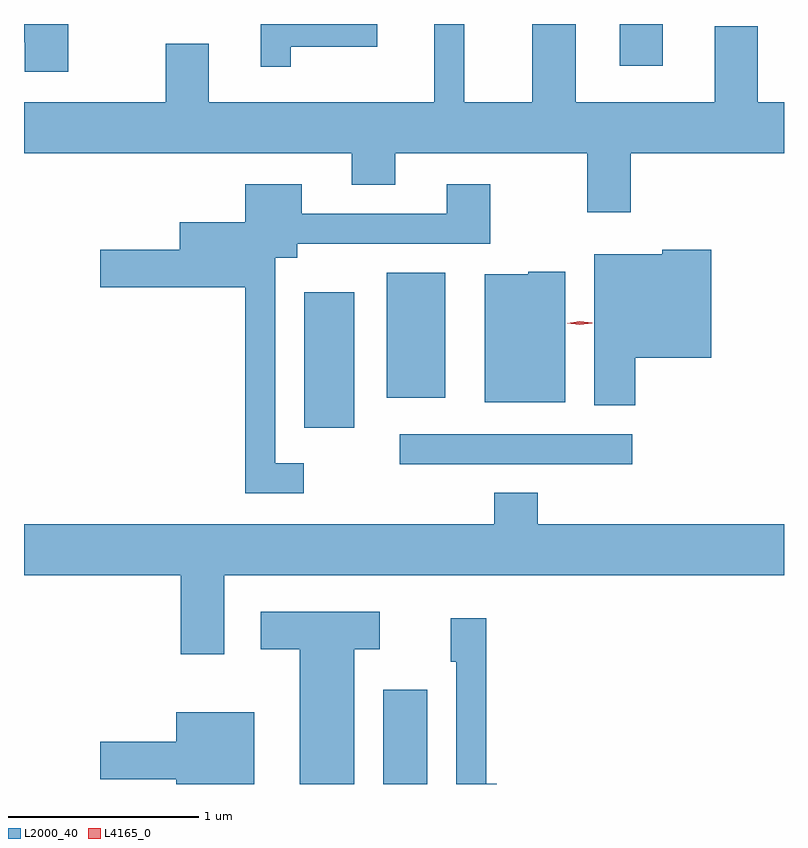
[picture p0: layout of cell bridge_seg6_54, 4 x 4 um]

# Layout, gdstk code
import gdstk
lib = gdstk.Library(unit=1e-6, precision=1e-09)
def R(c, l, rs):  # rectangles x0, y0, x1, y1
    for r in rs: c.add(gdstk.rectangle(r[:2], r[2:], *l))
def P(c, l, *ps):  # polygons
    for p in ps: c.add(gdstk.Polygon(p, *l))
L2000_40 = (2000, 40)
L4165_0 = (4165, 0)

bridge_seg6_54 = lib.new_cell('bridge_seg6_54')
R(bridge_seg6_54, L2000_40, [(1690.096,1586.677,1690.329,1587.174), (1690.183,1588.361,1691.408,1588.519), (1689.681,1588.551,1689.944,1589.264), (1690.116,1588.711,1690.424,1589.369), (1691.341,1590.456,1691.569,1590.677)])
P(bridge_seg6_54, L2000_40, [(1691.399,1589.996),(1692.206,1589.996),(1692.206,1590.264),(1692.069,1590.264),(1692.069,1590.664),(1691.841,1590.664),(1691.841,1590.264),(1691.109,1590.264),(1691.109,1590.677),(1690.881,1590.677),(1690.881,1590.264),(1690.524,1590.264),(1690.524,1590.677),(1690.366,1590.677),(1690.366,1590.264),(1689.179,1590.264),(1689.179,1590.574),(1688.951,1590.574),(1688.951,1590.264),(1688.206,1590.264),(1688.206,1589.996),(1689.931,1589.996),(1689.931,1589.831),(1690.159,1589.831),(1690.159,1589.996),(1691.171,1589.996),(1691.171,1589.686),(1691.399,1589.686)],
  [(1688.439,1590.677),(1688.206,1590.677),(1688.206,1590.581),(1688.211,1590.581),(1688.211,1590.426),(1688.439,1590.426)],
  [(1689.609,1590.556),(1690.064,1590.556),(1690.064,1590.677),(1689.451,1590.677),(1689.451,1590.453),(1689.609,1590.453)],
  [(1689.678,1588.364),(1689.529,1588.364),(1689.529,1589.446),(1689.644,1589.446),(1689.644,1589.521),(1690.659,1589.521),(1690.659,1589.834),(1690.431,1589.834),(1690.431,1589.679),(1689.669,1589.679),(1689.669,1589.834),(1689.371,1589.834),(1689.371,1589.634),(1689.026,1589.634),(1689.026,1589.489),(1688.606,1589.489),(1688.606,1589.291),(1689.371,1589.291),(1689.371,1588.206),(1689.678,1588.206)],
  [(1691.424,1588.921),(1691.824,1588.921),(1691.824,1589.489),(1691.566,1589.489),(1691.566,1589.464),(1691.206,1589.464),(1691.206,1588.671),(1691.424,1588.671)],
  [(1691.054,1589.374),(1690.86,1589.374),(1690.86,1589.359),(1690.631,1589.359),(1690.631,1588.686),(1691.054,1588.686)],
  [(1689.259,1587.776),(1692.206,1587.776),(1692.206,1588.044),(1690.909,1588.044),(1690.909,1588.209),(1690.681,1588.209),(1690.681,1588.044),(1688.206,1588.044),(1688.206,1587.776),(1689.031,1587.776),(1689.031,1587.361),(1689.259,1587.361)],
  [(1689.944,1587.386),(1690.079,1587.386),(1690.079,1587.584),(1689.451,1587.584),(1689.451,1587.386),(1689.656,1587.386),(1689.656,1586.677),(1689.944,1586.677)],
  [(1690.694,1586.679),(1690.639,1586.679),(1690.639,1587.549),(1690.451,1587.549),(1690.451,1587.321),(1690.481,1587.321),(1690.481,1586.677),(1690.694,1586.677)],
  [(1689.419,1587.054),(1689.006,1587.054),(1689.006,1586.899),(1688.606,1586.899),(1688.606,1586.701),(1689.006,1586.701),(1689.006,1586.677),(1689.419,1586.677)])
P(bridge_seg6_54, L4165_0, [(1691.13,1589.093),(1691.064,1589.102),(1691.064,1589.102),(1691.064,1589.103),(1691.13,1589.113),(1691.196,1589.104),(1691.196,1589.104),(1691.196,1589.103)])

lib.write_gds('bridge_seg6_54.gds')
